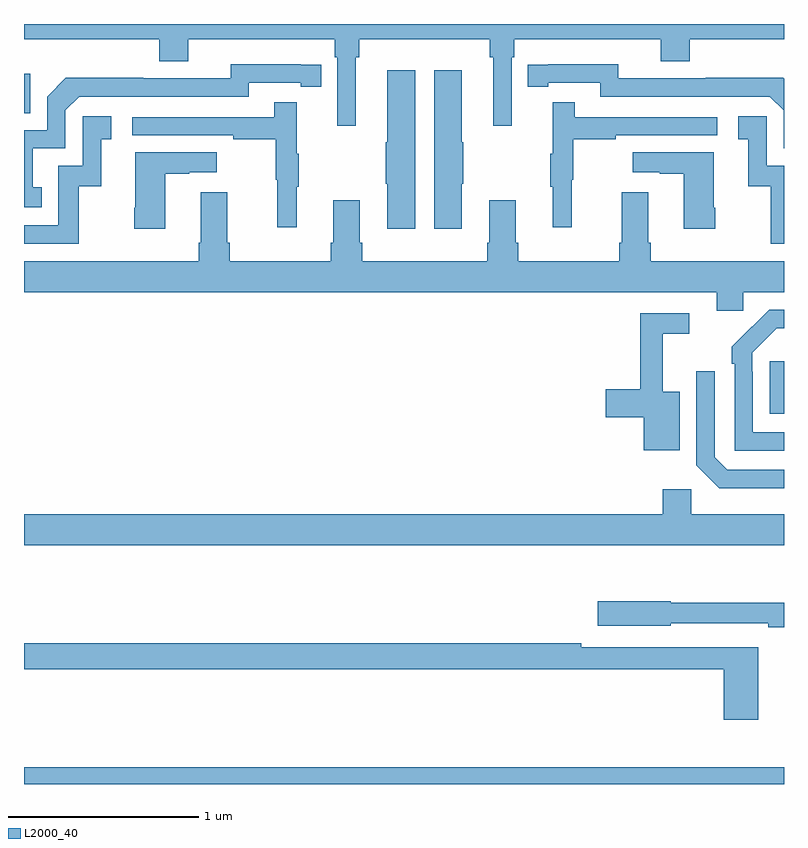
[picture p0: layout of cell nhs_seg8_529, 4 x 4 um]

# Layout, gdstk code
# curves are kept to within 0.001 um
import gdstk
lib = gdstk.Library(unit=1e-6, precision=1e-09)
def R(c, l, rs):  # rectangles x0, y0, x1, y1
    for r in rs: c.add(gdstk.rectangle(r[:2], r[2:], *l))
def P(c, l, *ps):  # polygons
    for p in ps: c.add(gdstk.Polygon(p, *l))
L2000_40 = (2000, 40)

nhs_seg8_529 = lib.new_cell('nhs_seg8_529')
R(nhs_seg8_529, L2000_40, [(145,1125.9,149,1125.988), (148.925,1127.849,149,1128.124), (145,1129.431,145.032,1129.639)])
P(nhs_seg8_529, L2000_40, [(145,1129.82),(145.712,1129.82),(145.712,1129.703),(145.864,1129.703),(145.864,1129.82),(146.636,1129.82),(146.636,1129.724),(146.649,1129.724),(146.649,1129.365),(146.746,1129.365),(146.746,1129.724),(146.765,1129.724),(146.765,1129.82),(147.451,1129.82),(147.451,1129.724),(147.47,1129.724),(147.47,1129.365),(147.567,1129.365),(147.567,1129.724),(147.581,1129.724),(147.581,1129.82),(148.352,1129.82),(148.352,1129.703),(148.505,1129.703),(148.505,1129.82),(149,1129.82),(149,1129.9),(145,1129.9)],
  [(145.094,1129.041),(145.045,1129.041),(145.045,1129.245),(145.218,1129.245),(145.218,1129.446),(145.29,1129.518),(146.184,1129.518),(146.184,1129.59),(146.456,1129.59),(146.456,1129.57),(146.564,1129.57),(146.564,1129.686),(146.088,1129.687),(146.088,1129.614),(145.628,1129.614),(145.628,1129.616),(145.22,1129.616),(145.122,1129.518),(145.122,1129.341),(145,1129.341),(145,1128.936),(145.094,1128.936)],
  [(149,1129.612),(148.996,1129.616),(148.588,1129.616),(148.588,1129.614),(148.128,1129.614),(148.128,1129.687),(147.652,1129.686),(147.652,1129.57),(147.76,1129.57),(147.76,1129.59),(148.032,1129.59),(148.032,1129.518),(148.926,1129.518),(148.998,1129.446),(148.998,1129.245),(149,1129.245)],
  [(147.058,1129.657),(146.912,1129.657),(146.912,1129.277),(146.905,1129.277),(146.905,1129.06),(146.912,1129.06),(146.912,1128.822),(147.058,1128.822)],
  [(147.304,1129.06),(147.312,1129.06),(147.312,1129.277),(147.304,1129.277),(147.304,1129.657),(147.158,1129.657),(147.158,1128.822),(147.304,1128.822)],
  [(147.884,1129.08),(147.892,1129.08),(147.892,1129.294),(148.115,1129.294),(148.115,1129.314),(148.648,1129.314),(148.648,1129.41),(147.899,1129.41),(147.899,1129.489),(147.782,1129.489),(147.782,1129.217),(147.771,1129.217),(147.771,1129.043),(147.782,1129.043),(147.782,1128.831),(147.884,1128.831)],
  [(146.435,1129.043),(146.446,1129.043),(146.446,1129.217),(146.435,1129.217),(146.435,1129.489),(146.317,1129.489),(146.317,1129.41),(145.569,1129.41),(145.569,1129.314),(146.101,1129.314),(146.101,1129.294),(146.325,1129.294),(146.325,1129.08),(146.332,1129.08),(146.332,1128.831),(146.435,1128.831)],
  [(145.288,1129.047),(145.406,1129.047),(145.406,1129.293),(145.459,1129.293),(145.459,1129.414),(145.308,1129.414),(145.308,1129.155),(145.179,1129.155),(145.179,1128.84),(145,1128.84),(145,1128.744),(145.288,1128.744)],
  [(149,1129.155),(148.908,1129.155),(148.908,1129.414),(148.758,1129.414),(148.758,1129.293),(148.811,1129.293),(148.811,1129.047),(148.929,1129.047),(148.929,1128.744),(149,1128.744)],
  [(145.744,1129.111),(145.871,1129.111),(145.871,1129.121),(146.014,1129.121),(146.014,1129.225),(145.586,1129.225),(145.586,1128.934),(145.579,1128.934),(145.579,1128.822),(145.744,1128.822)],
  [(148.638,1128.934),(148.63,1128.934),(148.63,1129.225),(148.203,1129.225),(148.203,1129.121),(148.346,1129.121),(148.346,1129.111),(148.472,1129.111),(148.472,1128.822),(148.638,1128.822)],
  [(148.785,1128.488),(149,1128.488),(149,1128.652),(148.298,1128.652),(148.298,1128.748),(148.285,1128.748),(148.285,1129.015),(148.145,1129.015),(148.145,1128.748),(148.133,1128.748),(148.133,1128.652),(147.602,1128.652),(147.602,1128.748),(147.589,1128.748),(147.589,1128.973),(147.449,1128.973),(147.449,1128.748),(147.437,1128.748),(147.437,1128.652),(146.78,1128.652),(146.78,1128.748),(146.767,1128.748),(146.767,1128.973),(146.627,1128.973),(146.627,1128.748),(146.615,1128.748),(146.615,1128.652),(146.084,1128.652),(146.084,1128.748),(146.071,1128.748),(146.071,1129.015),(145.931,1129.015),(145.931,1128.748),(145.919,1128.748),(145.919,1128.652),(145,1128.652),(145,1128.488),(148.646,1128.488),(148.646,1128.39),(148.785,1128.39)],
  [(149,1127.751),(148.836,1127.751),(148.836,1128.071),(148.833,1128.071),(148.833,1128.171),(148.962,1128.3),(149,1128.3),(149,1128.396),(148.922,1128.396),(148.725,1128.201),(148.725,1128.113),(148.74,1128.113),(148.74,1127.655),(149,1127.655)],
  [(148.45,1127.965),(148.361,1127.965),(148.361,1128.27),(148.501,1128.27),(148.501,1128.378),(148.243,1128.378),(148.243,1127.978),(148.062,1127.978),(148.062,1127.831),(148.262,1127.831),(148.262,1127.657),(148.45,1127.657)],
  [(149,1127.553),(148.701,1127.553),(148.635,1127.619),(148.635,1128.073),(148.539,1128.073),(148.539,1127.577),(148.66,1127.456),(149,1127.456)],
  [(149,1127.32),(148.512,1127.32),(148.512,1127.452),(148.361,1127.452),(148.361,1127.32),(145,1127.32),(145,1127.156),(149,1127.156)],
  [(149,1126.855),(148.404,1126.855),(148.404,1126.863),(148.02,1126.863),(148.02,1126.733),(148.404,1126.733),(148.404,1126.746),(148.918,1126.746),(148.918,1126.726),(149,1126.726)],
  [(148.865,1126.62),(147.932,1126.62),(147.932,1126.64),(145,1126.64),(145,1126.504),(148.682,1126.504),(148.682,1126.239),(148.865,1126.239)])

lib.write_gds('nhs_seg8_529.gds')
